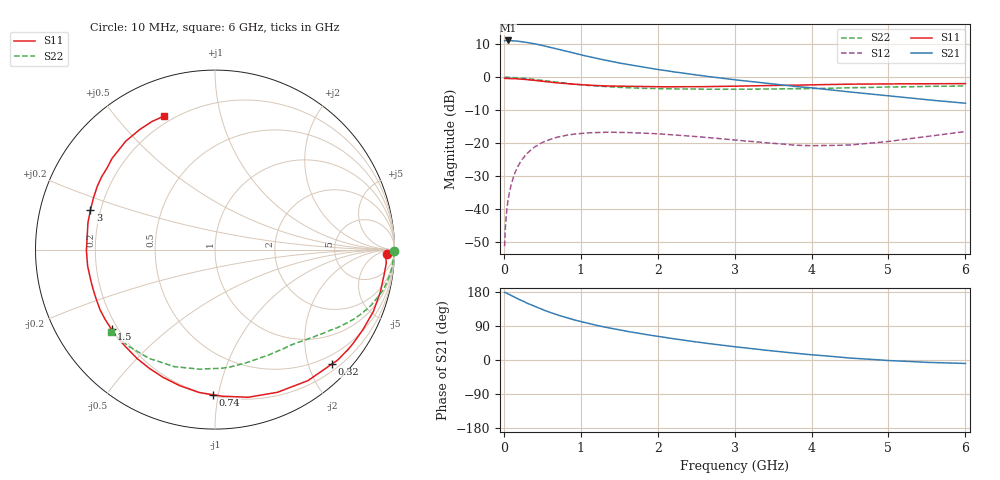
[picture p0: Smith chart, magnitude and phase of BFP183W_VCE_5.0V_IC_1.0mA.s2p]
! Infineon Technologies  Discrete & RF Semiconductors
! BFP183W
! VCE = 5.0 V,  IC =  1.0 mA
! Common Emitter S-Parameters:  Jan 2016
# GHz  S  MA  R  50
!  f  S11  S21  S12  S22
! GHz  MAG  ANG  MAG  ANG  MAG  ANG  MAG  ANG
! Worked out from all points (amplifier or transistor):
!   210 points, 10 MHz to 6 GHz, reference 50 ohm
!   highest |S21| = 11.1 dB at 50 MHz (marker M1)
!   |S21| within 3 dB of that: start of sweep to 765.4 MHz
!   unconditionally stable (mu >= 1): 2.75 GHz to end of sweep
!   at 185 MHz: K = 0.07, MSG = 19.0 dB, |S12| = -27.1 dB
!   at 1.52 GHz: K = 0.54, MSG = 10.5 dB, |S12| = -16.8 dB
!   at 6 GHz: K = 1.14, MAG = 2.1 dB, |S12| = -16.6 dB
!   S11 on the Smith chart (normalised r, x): 10 MHz: 34, -22; 320 MHz: 0.32, -2.41; 740 MHz: 0.21, -0.97; 1.5 GHz: 0.18, -0.33; 3 GHz: 0.16, +0.15; 6 GHz: 0.17, +0.68
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0.01  0.9594 -1.5  3.572 178.3  0.0027 91.0  0.9985 -0.6
0.025  0.9554 -3.7  3.601 177.6  0.0063 86.7  0.997 -1.3
0.05  0.9538 -7.3  3.607 175.1  0.0124 84.9  0.9954 -2.7
0.09  0.9505 -13.0  3.574 171.1  0.0219 81.7  0.9921 -4.9
0.15  0.9473 -21.4  3.555 164.8  0.0363 77.0  0.9852 -8.1
0.2  0.9368 -28.5  3.501 159.7  0.0479 73.0  0.9753 -10.6
0.32  0.9114 -44.5  3.328 148.5  0.0724 63.0  0.9452 -16.3
0.4  0.8951 -54.6  3.218 141.5  0.0868 57.2  0.9224 -19.8
0.5  0.868 -66.3  3.031 132.9  0.1017 50.6  0.8916 -23.6
0.6  0.8433 -77.3  2.847 125.6  0.1134 44.2  0.8605 -27.1
0.74  0.8087 -90.7  2.599 116.2  0.1257 37.1  0.8224 -31.0
0.9  0.783 -104.6  2.342 106.5  0.1357 29.9  0.7836 -35.0
1.02  0.7649 -113.5  2.157 100.4  0.1399 25.3  0.7612 -37.8
1.24  0.7414 -128.1  1.889 90.0  0.1445 18.2  0.7288 -42.3
1.5  0.7278 -142.4  1.641 79.7  0.1445 11.7  0.6989 -47.1
2.02  0.713 -165.9  1.298 61.8  0.1371 3.2  0.6688 -56.3
2.4  0.7165 -179.6  1.118 50.4  0.1277 -0.8  0.6588 -63.5
3  0.7281 162.5  0.912 35.0  0.1108 -2.0  0.6543 -75.0
3.1  0.7311 159.7  0.886 32.8  0.1082 -1.4  0.6547 -77.1
4.1  0.7678 136.8  0.668 12.3  0.0911 13.1  0.6729 -99.6
5.1  0.7898 121.0  0.505 -2.3  0.1092 32.2  0.7094 -123.4
6  0.7967 110.8  0.401 -9.1  0.1485 38.0  0.7363 -141.7
